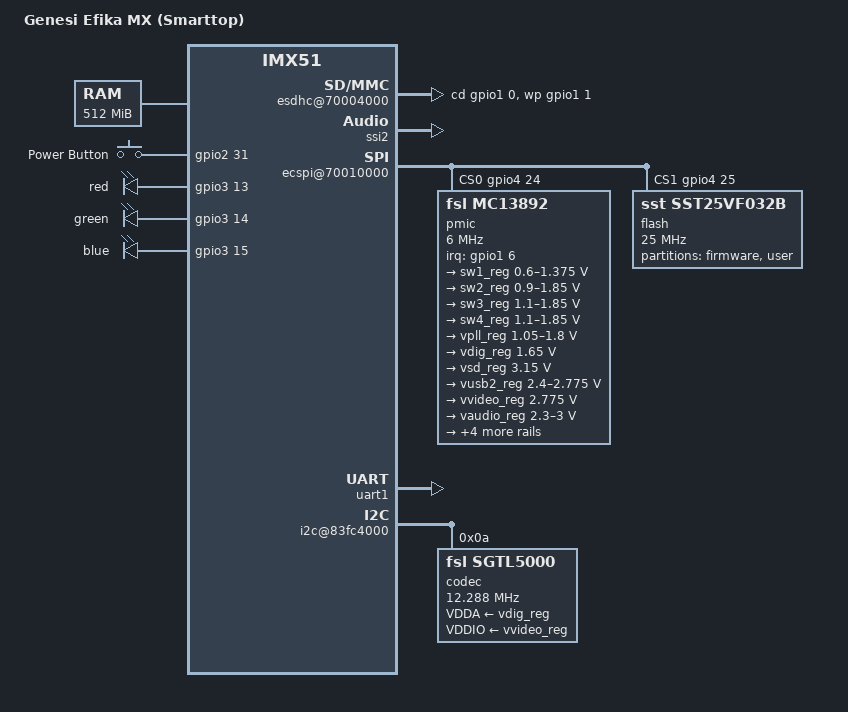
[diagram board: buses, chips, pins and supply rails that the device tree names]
/*
 * Copyright 2011 Freescale Semiconductor, Inc.
 * Copyright 2011 Linaro Ltd.
 * Copyright 2012 Genesi USA, Inc.
 *
 * The code contained herein is licensed under the GNU General Public
 * License. You may obtain a copy of the GNU General Public License
 * Version 2 or later at the following locations:
 *
 * http://www.opensource.org/licenses/gpl-license.html
 * http://www.gnu.org/copyleft/gpl.html
 */

/dts-v1/;
/include/ "imx51.dtsi"

/ {
 model = "Genesi Efika MX (Smarttop)";
 compatible = "genesi,imx51-efikamx", "fsl,imx51";

 memory {
 reg = <0x90000000 0x20000000>;
 };

 soc {
 aips@70000000 {
 spba@70000000 {
 esdhc@70004000 {
 cd-gpios = <&gpio1 0 0>;
 wp-gpios = <&gpio1 1 0>;
 status = "okay";
 };

 ssi2: ssi@70014000 {
 fsl,mode = "i2s-slave";
 status = "okay";
 };

 ecspi@70010000 {
 fsl,spi-num-chipselects = <2>;
 cs-gpios = <&gpio4 24 0>, <&gpio4 25 0>;
 status = "okay";

 pmic: mc13892@0 {
 #address-cells = <1>;
 #size-cells = <0>;
 compatible = "fsl,mc13892";
 spi-max-frequency = <6000000>;
 reg = <0>;
 interrupt-parent = <&gpio1>;
 interrupts = <6 0x4>;
 fsl,mc13xxx-uses-rtc;

 regulators {
 sw1_reg: sw1 {
 regulator-min-microvolt = <600000>;
 regulator-max-microvolt = <1375000>;
 regulator-boot-on;
 regulator-always-on;
 };

 sw2_reg: sw2 {
 regulator-min-microvolt = <900000>;
 regulator-max-microvolt = <1850000>;
 regulator-boot-on;
 regulator-always-on;
 };

 sw3_reg: sw3 {
 regulator-min-microvolt = <1100000>;
 regulator-max-microvolt = <1850000>;
 regulator-boot-on;
 regulator-always-on;
 };

 sw4_reg: sw4 {
 regulator-min-microvolt = <1100000>;
 regulator-max-microvolt = <1850000>;
 regulator-boot-on;
 regulator-always-on;
 };

 vpll_reg: vpll {
 regulator-min-microvolt = <1050000>;
 regulator-max-microvolt = <1800000>;
 regulator-boot-on;
 regulator-always-on;
 };

 vdig_reg: vdig {
 regulator-min-microvolt = <1650000>;
 regulator-max-microvolt = <1650000>;
 regulator-boot-on;
 };

 vsd_reg: vsd {
 regulator-min-microvolt = <3150000>;
 regulator-max-microvolt = <3150000>;
 };

 vusb2_reg: vusb2 {
 regulator-min-microvolt = <2400000>;
 regulator-max-microvolt = <2775000>;
 regulator-boot-on;
 regulator-always-on;
 };

 vvideo_reg: vvideo {
 regulator-min-microvolt = <2775000>;
 regulator-max-microvolt = <2775000>;
 regulator-boot-on;
 };

 vaudio_reg: vaudio {
 regulator-min-microvolt = <2300000>;
 regulator-max-microvolt = <3000000>;
 };

 vcam_reg: vcam {
 regulator-min-microvolt = <2500000>;
 regulator-max-microvolt = <3000000>;
 };

 vgen1_reg: vgen1 {
 regulator-min-microvolt = <1200000>;
 regulator-max-microvolt = <3150000>;
 };

 vgen2_reg: vgen2 {
 regulator-min-microvolt = <3150000>;
 regulator-max-microvolt = <3150000>;
 regulator-always-on;
 };

 vgen3_reg: vgen3 {
 regulator-min-microvolt = <1800000>;
 regulator-max-microvolt = <2900000>;
 regulator-always-on;
 };
 };
 };

 flash: sst25vf032b@1 {
 #address-cells = <1>;
 #size-cells = <1>;
 compatible = "sst,sst25vf032b";
 spi-max-frequency = <25000000>;
 reg = <1>;

 partition@0 {
 label = "firmware";
 reg = <0x0 0x200000>;
 };

 partition@200000 {
 label = "user";
 reg = <0x200000 0x200000>;
 };
 };
 };
 };

 wdog@73f98000 {
 status = "okay";
 };

 iomuxc@73fa8000 {
 compatible = "fsl,imx51-iomuxc";
 reg = <0x73fa8000 0x4000>;
 };

 uart1: serial@73fbc000 {
 fsl,uart-has-rtscts;
 status = "okay";
 };

 };

 aips@80000000 {
 sdma@83fb0000 {
 fsl,sdma-ram-script-name = "imx/sdma/sdma-imx51.bin";
 };

 i2c@83fc4000 {
 status = "okay";

 codec: sgtl5000@0a {
 compatible = "fsl,sgtl5000";
 reg = <0x0a>;
 clock-frequency = <12288000>;
 VDDA-supply = <&vdig_reg>;
 VDDIO-supply = <&vvideo_reg>;
 };
 };

 audmux@83fd0000 {
 status = "okay";
 };
 };
 };

 gpio-keys {
 compatible = "gpio-keys";

 power {
 label = "Power Button";
 gpios = <&gpio2 31 0>;
 linux,code = <116>; /* KEY_POWER */
 gpio-key,wakeup;
 };
 };

 gpio-leds {
 compatible = "gpio-leds";

 red {
 label = "red";
 gpios = <&gpio3 13>;
 linux,default-trigger = "ide-disk";
 };

 green {
 label = "green";
 gpios = <&gpio3 14>;
 linux,default-trigger = "default-on";
 };

 blue {
 label = "blue";
 gpios = <&gpio3 15>;
 linux,default-trigger = "mmc0";
 };
 };

 sound {
 compatible = "fsl,imx-audio-sgtl5000";
 model = "efikamx-sgtl5000";
 ssi-controller = <&ssi2>;
 audio-routing =
 "MIC_IN", "Mic Jack",
 "Mic Jack", "Mic Bias",
 "Ext Spk", "LINE_OUT";
 audio-codec = <&codec>;
 mux-int-port = <2>;
 mux-ext-port = <3>;
 };
};
